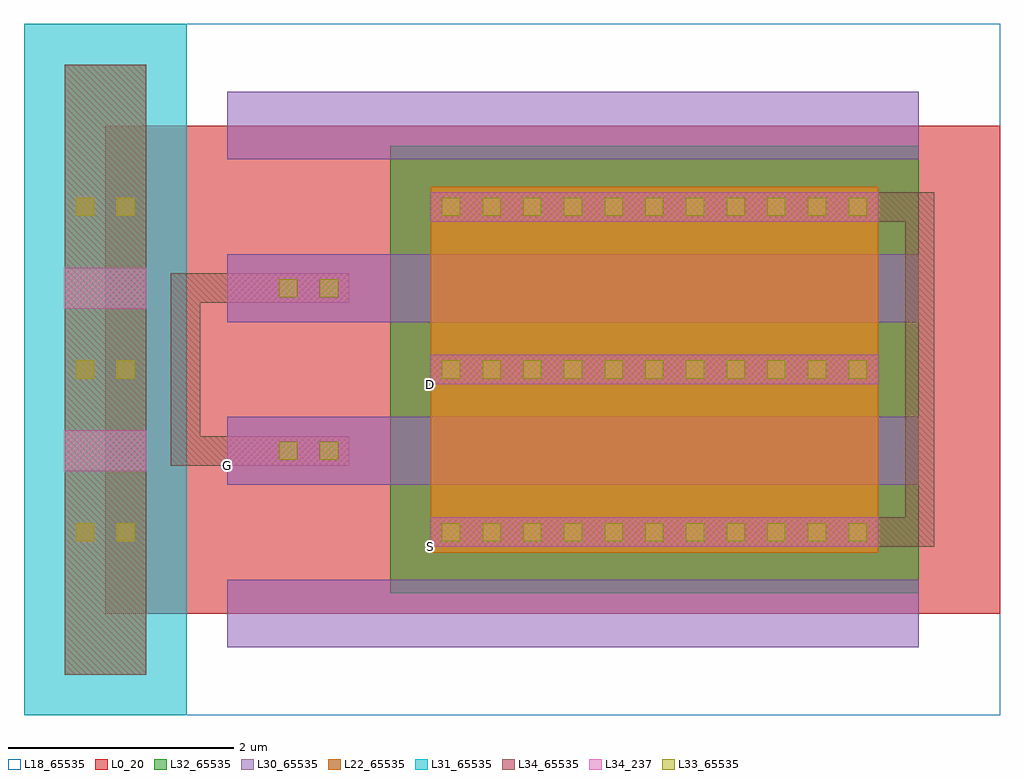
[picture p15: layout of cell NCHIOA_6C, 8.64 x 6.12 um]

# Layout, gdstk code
import gdstk
lib = gdstk.Library(unit=1e-6, precision=1e-09)
def R(c, l, rs):  # rectangles x0, y0, x1, y1
    for r in rs: c.add(gdstk.rectangle(r[:2], r[2:], *l))
def A(c, l, x, y, w, h, nx, ny, dx, dy):  # array of equal rectangles
    R(c, l, [(x+i*dx, y+j*dy, x+i*dx+w, y+j*dy+h) for i in range(nx) for j in range(ny)])
L0_20 = (0, 20)
L18_65535 = (18, 65535)
L22_65535 = (22, 65535)
L30_65535 = (30, 65535)
L31_65535 = (31, 65535)
L32_65535 = (32, 65535)
L33_65535 = (33, 65535)
L34_237 = (34, 237)
L34_65535 = (34, 65535)

nchio_6c = lib.new_cell('NCHIO_6C')
R(nchio_6c, L0_20, [(0,0,7.92,2.88)])
R(nchio_6c, L18_65535, [(-0.72,-0.9,7.92,3.78)])
A(nchio_6c, L22_65535, -0.36, -0.54, 0.72, 0.36, 1, 11, 0, 0.36)
A(nchio_6c, L22_65535, 2.88, 0.54, 3.96, 0.36, 1, 5, 0, 0.36)
A(nchio_6c, L30_65535, 1.08, -0.3, 6.12, 0.6, 1, 3, 0, 1.44)
R(nchio_6c, L31_65535, [(-0.72,-0.9,0.72,3.78)])
R(nchio_6c, L32_65535, [(2.52,0.18,7.2,2.7)])
A(nchio_6c, L33_65535, 2.98, 0.64, 0.16, 0.16, 11, 2, 0.36, 1.44)
R(nchio_6c, L33_65535, [(-0.26,0.64,-0.1,0.8), (0.1,0.64,0.26,0.8), (1.54,1.36,1.7,1.52), (1.9,1.36,2.06,1.52), (-0.26,2.08,-0.1,2.24), (0.1,2.08,0.26,2.24)])
R(nchio_6c, L34_237, [(2.88,0.59,6.84,0.85), (-0.36,1.26,0.36,1.62), (1.08,1.31,2.16,1.57), (2.88,2.03,6.84,2.29)])
A(nchio_6c, L34_65535, -0.36, -0.54, 0.72, 0.36, 1, 11, 0, 0.36)
R(nchio_6c, L34_65535, [(2.88,0.59,6.84,0.85), (1.08,1.31,2.16,1.57), (2.88,2.03,6.84,2.29)])
nchio_6c.add(gdstk.Label('G', (1.08,1.31), layer=34, texttype=237))
nchio_6c.add(gdstk.Label('S', (2.88,0.59), layer=34, texttype=237))
nchio_6c.add(gdstk.Label('B', (-0.36,1.26), layer=34, texttype=237))
nchio_6c.add(gdstk.Label('D', (2.88,2.03), layer=34, texttype=237))

nchioa_6c = lib.new_cell('NCHIOA_6C')
R(nchioa_6c, L0_20, [(0,0,7.92,4.32)])
R(nchioa_6c, L34_237, [(2.88,0.59,6.84,0.85), (1.08,1.31,2.16,1.57), (2.88,2.03,6.84,2.29)])
R(nchioa_6c, L34_65535, [(4.86,0.59,7.08,0.85), (7.08,0.59,7.34,3.73), (0.58,1.31,1.62,1.57), (0.58,1.31,0.84,3.01), (0.58,2.75,1.62,3.01), (4.86,3.47,7.08,3.73)])
nchioa_6c.add(gdstk.Reference(nchio_6c, (0,0)))
nchioa_6c.add(gdstk.Reference(nchio_6c, (0,1.44)))
nchioa_6c.add(gdstk.Label('S', (2.88,0.59), layer=58, texttype=65535))
nchioa_6c.add(gdstk.Label('G', (1.08,1.31), layer=58, texttype=65535))
nchioa_6c.add(gdstk.Label('D', (2.88,2.03), layer=34, texttype=237))
nchioa_6c.add(gdstk.Label('G', (1.08,1.31), layer=34, texttype=237))
nchioa_6c.add(gdstk.Label('S', (2.88,0.59), layer=34, texttype=237))

lib.write_gds('NCHIOA_6C.gds')
